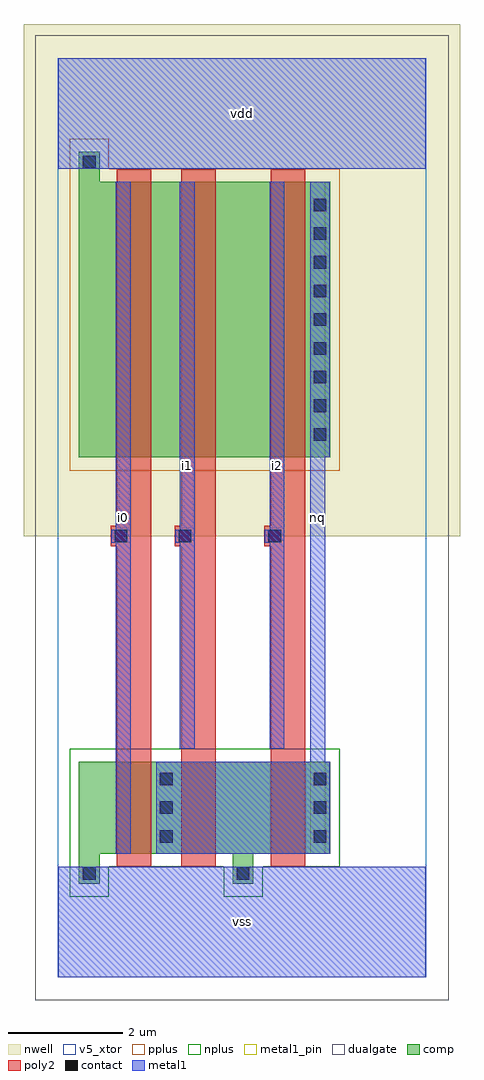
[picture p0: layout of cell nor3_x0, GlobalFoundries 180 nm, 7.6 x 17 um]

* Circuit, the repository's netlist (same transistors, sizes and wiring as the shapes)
* nor3_x0
.subckt nor3_x0 vdd vss nq i0 i1 i2
Mn0 vss i0 nq vss nfet_06v0 l=0.6um w=1.6um
Mp0 vdd i0 int0 vdd pfet_06v0 l=0.6um w=4.8um
Mn1 nq i1 vss vss nfet_06v0 l=0.6um w=1.6um
Mp1 int0 i1 int1 vdd pfet_06v0 l=0.6um w=4.8um
Mn2 vss i2 nq vss nfet_06v0 l=0.6um w=1.6um
Mp2 int1 i2 nq vdd pfet_06v0 l=0.6um w=4.8um
.ends nor3_x0

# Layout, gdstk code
import gdstk
lib = gdstk.Library(unit=1e-6, precision=1e-09)
def R(c, l, rs):  # rectangles x0, y0, x1, y1
    for r in rs: c.add(gdstk.rectangle(r[:2], r[2:], *l))
def A(c, l, x, y, w, h, nx, ny, dx, dy):  # array of equal rectangles
    R(c, l, [(x+i*dx, y+j*dy, x+i*dx+w, y+j*dy+h) for i in range(nx) for j in range(ny)])
def P(c, l, *ps):  # polygons
    for p in ps: c.add(gdstk.Polygon(p, *l))
nwell = (21, 0)
comp = (22, 0)
poly2 = (30, 0)
pplus = (31, 0)
nplus = (32, 0)
contact = (33, 0)
metal1 = (34, 0)
metal1_pin = (34, 10)
dualgate = (55, 0)
v5_xtor = (112, 1)

nor3_x0 = lib.new_cell('nor3_x0')
R(nor3_x0, nwell, [(-0.6,7.68,7,16.6)])
P(nor3_x0, comp, [(0.36,1.625),(0.36,3.75),(4.74,3.75),(4.74,2.15),(3.4,2.15),(3.4,1.625),(3.04,1.625),(3.04,2.15),(0.72,2.15),(0.72,1.625)],
  [(0.36,9.05),(0.36,14.375),(0.72,14.375),(0.72,13.85),(4.74,13.85),(4.74,9.05)])
P(nor3_x0, poly2, [(1.02,1.93),(1.02,7.5),(0.91,7.5),(0.91,7.86),(1.02,7.86),(1.02,14.07),(1.62,14.07),(1.62,1.93)],
  [(2.14,1.93),(2.14,7.5),(2.03,7.5),(2.03,7.86),(2.14,7.86),(2.14,14.07),(2.74,14.07),(2.74,1.93)],
  [(3.7,1.93),(3.7,7.5),(3.59,7.5),(3.59,7.86),(3.7,7.86),(3.7,14.07),(4.3,14.07),(4.3,1.93)])
P(nor3_x0, pplus, [(0.2,8.82),(0.2,14.605),(0.88,14.605),(0.88,14.08),(4.9,14.08),(4.9,8.82)])
P(nor3_x0, nplus, [(0.2,1.395),(0.2,3.98),(4.9,3.98),(4.9,1.92),(3.56,1.92),(3.56,1.395),(2.88,1.395),(2.88,1.92),(0.88,1.92),(0.88,1.395)])
A(nor3_x0, contact, 1.77, 2.34, 0.22, 0.22, 1, 3, 0, 0.5)
A(nor3_x0, contact, 4.45, 2.34, 0.22, 0.22, 1, 3, 0, 0.5)
A(nor3_x0, contact, 4.45, 9.34, 0.22, 0.22, 1, 9, 0, 0.5)
R(nor3_x0, contact, [(0.43,1.695,0.65,1.915), (3.11,1.695,3.33,1.915), (0.98,7.57,1.2,7.79), (2.1,7.57,2.32,7.79), (3.66,7.57,3.88,7.79), (0.43,14.085,0.65,14.305)])
R(nor3_x0, metal1, [(0,0,6.4,1.92), (0,14.08,6.4,16)])
P(nor3_x0, metal1, [(1.71,2.15),(1.71,3.75),(4.39,3.75),(4.39,13.85),(4.73,13.85),(4.73,9.05),(4.65,9.05),(4.65,3.75),(4.73,3.75),(4.73,2.15)],
  [(1,2.15),(1,7.565),(0.92,7.565),(0.92,7.795),(1,7.795),(1,13.85),(1.26,13.85),(1.26,2.15)],
  [(2.12,3.98),(2.12,7.565),(2.04,7.565),(2.04,7.795),(2.12,7.795),(2.12,13.85),(2.38,13.85),(2.38,3.98)],
  [(3.68,3.98),(3.68,7.565),(3.6,7.565),(3.6,7.795),(3.68,7.795),(3.68,13.85),(3.94,13.85),(3.94,3.98)])
R(nor3_x0, metal1_pin, [(0,0,6.4,1.92), (1,2.15,1.26,13.85), (4.39,2.15,4.65,13.85), (2.12,3.98,2.38,13.85), (3.68,3.98,3.94,13.85), (0,14.08,6.4,16)])
R(nor3_x0, dualgate, [(-0.4,-0.4,6.8,16.4)])
R(nor3_x0, v5_xtor, [(-0.005,-0.005,6.405,16.005)])
nor3_x0.add(gdstk.Label('vss', (3.2,0.96), layer=34, texttype=10))
nor3_x0.add(gdstk.Label('vdd', (3.2,15.04), layer=34, texttype=10))
nor3_x0.add(gdstk.Label('nq', (4.52,8), layer=34, texttype=10))
nor3_x0.add(gdstk.Label('i0', (1.13,8), layer=34, texttype=10))
nor3_x0.add(gdstk.Label('i1', (2.25,8.915), layer=34, texttype=10))
nor3_x0.add(gdstk.Label('i2', (3.81,8.915), layer=34, texttype=10))

lib.write_gds('nor3_x0.gds')
